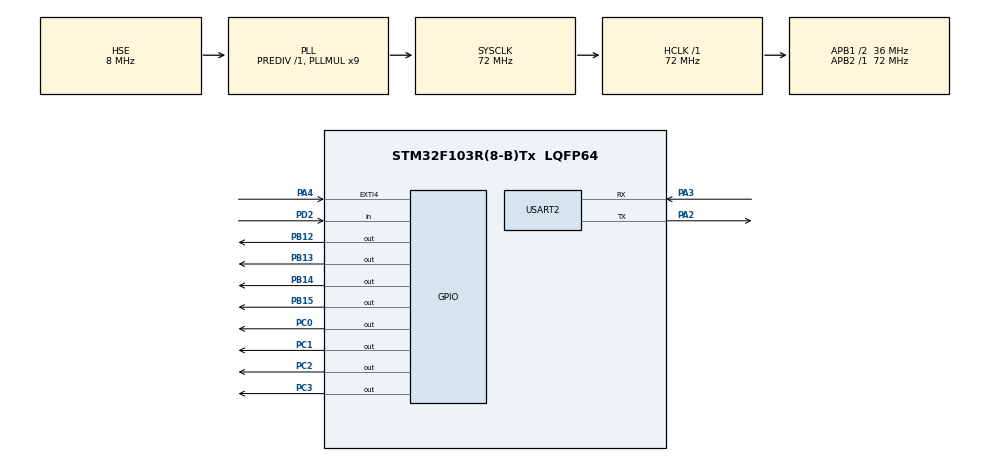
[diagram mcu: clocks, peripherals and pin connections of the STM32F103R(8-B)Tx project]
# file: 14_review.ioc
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Mcu.Family=STM32F1
Mcu.Name=STM32F103R(8-B)Tx
Mcu.Package=LQFP64
NVIC.EXTI4_IRQn=true\:0\:0\:false\:false\:true\:true\:true\:true
NVIC.PriorityGroup=NVIC_PRIORITYGROUP_4
NVIC.USART2_IRQn=true\:0\:0\:false\:false\:true\:true\:true\:true
PA2.Mode=Asynchronous
PA2.Signal=USART2_TX
PA3.Mode=Asynchronous
PA3.Signal=USART2_RX
PA4.GPIO_ModeDefaultEXTI=GPIO_MODE_IT_FALLING
PA4.Signal=GPXTI4
PB12.Signal=GPIO_Output
PB13.Signal=GPIO_Output
PB14.Signal=GPIO_Output
PB15.Signal=GPIO_Output
PC0.Signal=GPIO_Output
PC1.Signal=GPIO_Output
PC14-OSC32_IN.Mode=LSE-External-Oscillator
PC14-OSC32_IN.Signal=RCC_OSC32_IN
PC15-OSC32_OUT.Mode=LSE-External-Oscillator
PC15-OSC32_OUT.Signal=RCC_OSC32_OUT
PC2.Signal=GPIO_Output
PC3.Signal=GPIO_Output
PD0-OSC_IN.Mode=HSE-External-Clock-Source
PD0-OSC_IN.Signal=RCC_OSC_IN
PD1-OSC_OUT.Mode=HSE-External-Clock-Source
PD1-OSC_OUT.Signal=RCC_OSC_OUT
PD2.Signal=GPIO_Input
ProjectManager.HeapSize=0x200
ProjectManager.StackSize=0x400
ProjectManager.TargetToolchain=STM32CubeIDE
RCC.AHBFreq_Value=72000000
RCC.APB1CLKDivider=RCC_HCLK_DIV2
RCC.APB1Freq_Value=36000000
RCC.APB1TimFreq_Value=72000000
RCC.APB2Freq_Value=72000000
RCC.APB2TimFreq_Value=72000000
RCC.HCLKFreq_Value=72000000
RCC.PLLMUL=RCC_PLL_MUL9
RCC.PLLSourceVirtual=RCC_PLLSOURCE_HSE
RCC.SYSCLKFreq_VALUE=72000000
RCC.SYSCLKSource=RCC_SYSCLKSOURCE_PLLCLK
RCC.USBFreq_Value=72000000
USART2.VirtualMode=VM_ASYNC
board=custom

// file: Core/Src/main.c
/* USER CODE BEGIN Header */
/**
  ******************************************************************************
  * @file           : main.c
  * @brief          : Main program body
  ******************************************************************************
  * @attention
  *
  * Copyright (c) 2023 STMicroelectronics.
  * All rights reserved.
  *
  * This software is licensed under terms that can be found in the LICENSE file
  * in the root directory of this software component.
  * If no LICENSE file comes with this software, it is provided AS-IS.
  *
  ******************************************************************************
  */
/* USER CODE END Header */
#include "main.h"

/* USER CODE BEGIN Includes */
#include <stdio.h>

/* USER CODE END Includes */

/* USER CODE BEGIN PD */
#define MODE_A 1
#define MODE_B 2
/* USER CODE END PD */

UART_HandleTypeDef huart2;

/* USER CODE BEGIN PV */
volatile uint8_t mode;
uint8_t RxBuffer[1];
/* USER CODE END PV */

void SystemClock_Config(void);
static void MX_GPIO_Init(void);
static void MX_USART2_UART_Init(void);

/* USER CODE BEGIN 0 */
int __io_putchar(int ch){
	HAL_UART_Transmit(&huart2, (uint8_t *)&ch, 1, 1000);
	if (ch == '\n')
		HAL_UART_Transmit(&huart2, (uint8_t *)&"\r", 1, 1000);
	return ch;
}

void display_menu() {
	printf("\n\n***********************\n");
	printf("Mode Control\n");
	printf("***********************\n\n");
	printf("1. Set to A mode\n");
	printf("2. Set to B mode\n");
	printf("Type number : ");
	fflush(stdout);
}

void a() {
	printf("long time no see\n");
  HAL_Delay(1000);
}

void b() {
	printf("오랜만이야!!!\n");
  HAL_Delay(1000);
}
/* USER CODE END 0 */

int main(void)
{

  /* MCU Configuration--------------------------------------------------------*/

  /* Reset of all peripherals, Initializes the Flash interface and the Systick. */
  HAL_Init();

  /* Configure the system clock */
  SystemClock_Config();

  /* Initialize all configured peripherals */
  MX_GPIO_Init();
  MX_USART2_UART_Init();
  /* USER CODE BEGIN 2 */
  display_menu();
  HAL_UART_Receive_IT(&huart2, RxBuffer, 1);
  /* USER CODE END 2 */

  /* Infinite loop */
  while (1)
  {
    /* USER CODE BEGIN 3 */
  }
	  if (mode == MODE_A)
		  a();
	  else if (mode == MODE_B)
		  b();
  /* USER CODE END 3 */
}

void SystemClock_Config(void)
{
  RCC_OscInitTypeDef RCC_OscInitStruct = {0};
  RCC_ClkInitTypeDef RCC_ClkInitStruct = {0};

  /** Initializes the RCC Oscillators according to the specified parameters
  * in the RCC_OscInitTypeDef structure.
  */
  RCC_OscInitStruct.OscillatorType = RCC_OSCILLATORTYPE_HSE;
  RCC_OscInitStruct.HSEState = RCC_HSE_BYPASS;
  RCC_OscInitStruct.HSEPredivValue = RCC_HSE_PREDIV_DIV1;
  RCC_OscInitStruct.HSIState = RCC_HSI_ON;
  RCC_OscInitStruct.PLL.PLLState = RCC_PLL_ON;
  RCC_OscInitStruct.PLL.PLLSource = RCC_PLLSOURCE_HSE;
  RCC_OscInitStruct.PLL.PLLMUL = RCC_PLL_MUL9;
  if (HAL_RCC_OscConfig(&RCC_OscInitStruct) != HAL_OK)
  {
    Error_Handler();
  }

  /** Initializes the CPU, AHB and APB buses clocks
  */
  RCC_ClkInitStruct.ClockType = RCC_CLOCKTYPE_HCLK|RCC_CLOCKTYPE_SYSCLK
                              |RCC_CLOCKTYPE_PCLK1|RCC_CLOCKTYPE_PCLK2;
  RCC_ClkInitStruct.SYSCLKSource = RCC_SYSCLKSOURCE_PLLCLK;
  RCC_ClkInitStruct.AHBCLKDivider = RCC_SYSCLK_DIV1;
  RCC_ClkInitStruct.APB1CLKDivider = RCC_HCLK_DIV2;
  RCC_ClkInitStruct.APB2CLKDivider = RCC_HCLK_DIV1;

  if (HAL_RCC_ClockConfig(&RCC_ClkInitStruct, FLASH_LATENCY_2) != HAL_OK)
  {
    Error_Handler();
  }
}

static void MX_USART2_UART_Init(void)
{

  huart2.Instance = USART2;
  huart2.Init.BaudRate = 115200;
  huart2.Init.WordLength = UART_WORDLENGTH_8B;
  huart2.Init.StopBits = UART_STOPBITS_1;
  huart2.Init.Parity = UART_PARITY_NONE;
  huart2.Init.Mode = UART_MODE_TX_RX;
  huart2.Init.HwFlowCtl = UART_HWCONTROL_NONE;
  huart2.Init.OverSampling = UART_OVERSAMPLING_16;
  if (HAL_UART_Init(&huart2) != HAL_OK)
  {
    Error_Handler();
  }

}

static void MX_GPIO_Init(void)
{
  GPIO_InitTypeDef GPIO_InitStruct = {0};

  /* GPIO Ports Clock Enable */
  __HAL_RCC_GPIOC_CLK_ENABLE();
  __HAL_RCC_GPIOD_CLK_ENABLE();
  __HAL_RCC_GPIOA_CLK_ENABLE();
  __HAL_RCC_GPIOB_CLK_ENABLE();

  /*Configure GPIO pin Output Level */
  HAL_GPIO_WritePin(GPIOC, GPIO_PIN_0|GPIO_PIN_1|GPIO_PIN_2|GPIO_PIN_3, GPIO_PIN_RESET);

  /*Configure GPIO pin Output Level */
  HAL_GPIO_WritePin(GPIOB, GPIO_PIN_12|GPIO_PIN_13|GPIO_PIN_14|GPIO_PIN_15, GPIO_PIN_RESET);

  /*Configure GPIO pins : PC0 PC1 PC2 PC3 */
  GPIO_InitStruct.Pin = GPIO_PIN_0|GPIO_PIN_1|GPIO_PIN_2|GPIO_PIN_3;
  GPIO_InitStruct.Mode = GPIO_MODE_OUTPUT_PP;
  GPIO_InitStruct.Pull = GPIO_NOPULL;
  GPIO_InitStruct.Speed = GPIO_SPEED_FREQ_LOW;
  HAL_GPIO_Init(GPIOC, &GPIO_InitStruct);

  /*Configure GPIO pin : PA4 */
  GPIO_InitStruct.Pin = GPIO_PIN_4;
  GPIO_InitStruct.Mode = GPIO_MODE_IT_FALLING;
  GPIO_InitStruct.Pull = GPIO_NOPULL;
  HAL_GPIO_Init(GPIOA, &GPIO_InitStruct);

  /*Configure GPIO pins : PB12 PB13 PB14 PB15 */
  GPIO_InitStruct.Pin = GPIO_PIN_12|GPIO_PIN_13|GPIO_PIN_14|GPIO_PIN_15;
  GPIO_InitStruct.Mode = GPIO_MODE_OUTPUT_PP;
  GPIO_InitStruct.Pull = GPIO_NOPULL;
  GPIO_InitStruct.Speed = GPIO_SPEED_FREQ_LOW;
  HAL_GPIO_Init(GPIOB, &GPIO_InitStruct);

  /*Configure GPIO pin : PD2 */
  GPIO_InitStruct.Pin = GPIO_PIN_2;
  GPIO_InitStruct.Mode = GPIO_MODE_INPUT;
  GPIO_InitStruct.Pull = GPIO_NOPULL;
  HAL_GPIO_Init(GPIOD, &GPIO_InitStruct);

  /* EXTI interrupt init*/
  HAL_NVIC_SetPriority(EXTI4_IRQn, 0, 0);
  HAL_NVIC_EnableIRQ(EXTI4_IRQn);

}

/* USER CODE BEGIN 4 */
void HAL_UART_RxCpltCallback(UART_HandleTypeDef *huart)
{
	switch (RxBuffer[0]) {
	    case '1':
	      mode = MODE_A;
	      HAL_UART_Transmit(&huart2, RxBuffer, sizeof(RxBuffer), 100);
	      printf("\n\nNow, A mode\n");
	      display_menu();
	      break;
	    case '2':
	      mode = MODE_B;
	      HAL_UART_Transmit(&huart2, RxBuffer, sizeof(RxBuffer), 100);
	      printf("\n\nNow, B mode\n");
	      display_menu();
	      break;
	     default :
	       RxBuffer[0] = '\a';
	       HAL_UART_Transmit(&huart2, RxBuffer, sizeof(RxBuffer), 100);
	       printf("\n\nSelect number : 1 ~ 2\n");
	       display_menu();
	       break;
	   }
	   HAL_UART_Receive_IT(&huart2, RxBuffer, 1);
}
/* USER CODE END 4 */

void Error_Handler(void)
{
  __disable_irq();
  while (1)
  {
  }
}
